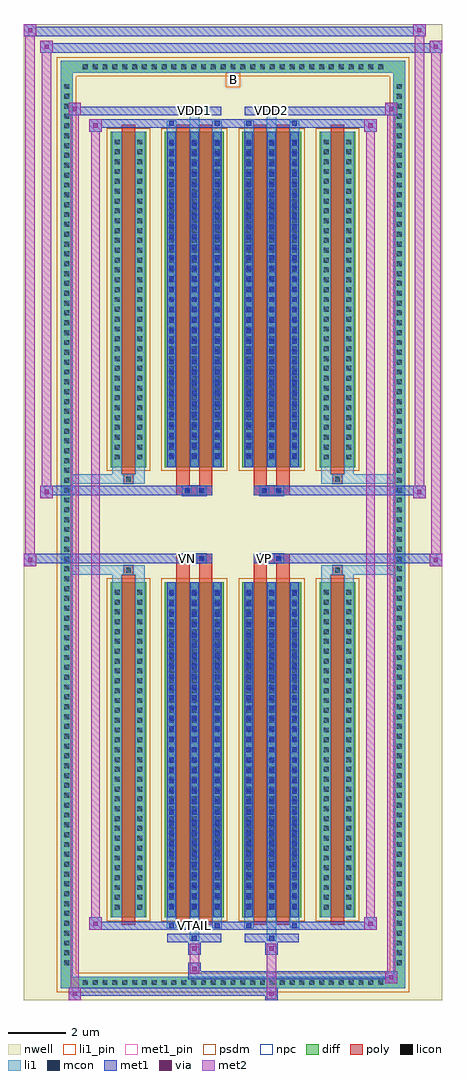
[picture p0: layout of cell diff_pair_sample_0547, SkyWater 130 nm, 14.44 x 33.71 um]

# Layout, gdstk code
import gdstk
lib = gdstk.Library(unit=1e-6, precision=5e-09)
def R(c, l, rs):  # rectangles x0, y0, x1, y1
    for r in rs: c.add(gdstk.rectangle(r[:2], r[2:], *l))
def A(c, l, x, y, w, h, nx, ny, dx, dy):  # array of equal rectangles
    R(c, l, [(x+i*dx, y+j*dy, x+i*dx+w, y+j*dy+h) for i in range(nx) for j in range(ny)])
def P(c, l, *ps):  # polygons
    for p in ps: c.add(gdstk.Polygon(p, *l))
nwell = (64, 20)
diff = (65, 20)
poly = (66, 20)
licon = (66, 44)
li1_pin = (67, 16)
li1 = (67, 20)
mcon = (67, 44)
met1_pin = (68, 16)
met1 = (68, 20)
via = (68, 44)
met2 = (69, 20)
psdm = (94, 20)
npc = (95, 20)

diff_pair_sample_0547 = lib.new_cell('diff_pair_sample_0547')
R(diff_pair_sample_0547, nwell, [(-7.22,-16.42,7.22,17.29), (-4.54,-14.61,-0.01,-0.805), (0.01,-14.61,4.54,-0.805), (-4.54,0.805,-0.01,14.61), (0.01,0.805,4.54,14.61)])
A(diff_pair_sample_0547, diff, -5.305, -16.02, 0.41, 0.41, 31, 2, 0.34, 31.63)
A(diff_pair_sample_0547, diff, -5.95, -15.335, 0.41, 0.41, 1, 90, 0, 0.34)
A(diff_pair_sample_0547, diff, 5.54, -15.335, 0.41, 0.41, 1, 90, 0, 0.34)
R(diff_pair_sample_0547, diff, [(-5.305,-16.02,5.305,-15.61), (-5.95,-15.335,-5.54,15.335), (5.54,-15.335,5.95,15.335), (-4.23,-13.565,-2.99,-1.985), (-2.35,-13.565,-0.32,-1.985), (0.32,-13.565,2.35,-1.985), (2.99,-13.565,4.23,-1.985), (-4.23,1.985,-2.99,13.565), (-2.35,1.985,-0.32,13.565), (0.32,1.985,2.35,13.565), (2.99,1.985,4.23,13.565), (-5.305,15.61,5.305,16.02)])
P(diff_pair_sample_0547, diff, [(5.95,16.02),(-5.95,16.02),(-5.95,-15.61),(-5.54,-15.61),(-5.54,15.61),(5.54,15.61),(5.54,-15.61),(-5.54,-15.61),(-5.95,-15.61),(-5.95,-16.02),(5.95,-16.02)])
R(diff_pair_sample_0547, poly, [(-3.84,-13.815,-3.38,-1.735), (-1.96,-13.815,-1.5,-1.735), (-1.17,-13.815,-0.71,-1.735), (0.71,-13.815,1.17,-1.735), (1.5,-13.815,1.96,-1.735), (3.38,-13.815,3.84,-1.735), (-3.775,-1.735,-3.445,-1.405), (-3.775,-1.735,-3.445,-1.405), (-1.96,-1.735,-1.5,-1.335), (-1.17,-1.735,-0.71,-1.335), (0.71,-1.735,1.17,-1.335), (1.5,-1.735,1.96,-1.335), (3.445,-1.735,3.775,-1.405), (3.445,-1.735,3.775,-1.405), (-1.96,-1.335,-0.71,-1.005), (-1.75,-1.335,-1.42,-1.005), (-1.25,-1.335,-0.92,-1.005), (0.71,-1.335,1.96,-1.005), (0.92,-1.335,1.25,-1.005), (1.42,-1.335,1.75,-1.005), (-1.96,1.005,-0.71,1.335), (-1.75,1.005,-1.42,1.335), (-1.25,1.005,-0.92,1.335), (0.71,1.005,1.96,1.335), (0.92,1.005,1.25,1.335), (1.42,1.005,1.75,1.335), (-1.96,1.335,-1.5,1.735), (-1.17,1.335,-0.71,1.735), (0.71,1.335,1.17,1.735), (1.5,1.335,1.96,1.735), (-3.775,1.405,-3.445,1.735), (-3.775,1.405,-3.445,1.735), (3.445,1.405,3.775,1.735), (3.445,1.405,3.775,1.735), (-3.84,1.735,-3.38,13.815), (-1.96,1.735,-1.5,13.815), (-1.17,1.735,-0.71,13.815), (0.71,1.735,1.17,13.815), (1.5,1.735,1.96,13.815), (3.38,1.735,3.84,13.815)])
A(diff_pair_sample_0547, licon, -5.185, -15.9, 0.17, 0.17, 31, 2, 0.34, 31.63)
A(diff_pair_sample_0547, licon, -5.83, -15.215, 0.17, 0.17, 1, 90, 0, 0.34)
A(diff_pair_sample_0547, licon, 5.66, -15.215, 0.17, 0.17, 1, 90, 0, 0.34)
A(diff_pair_sample_0547, licon, -4.09, -13.3, 0.17, 0.17, 1, 33, 0, 0.34)
A(diff_pair_sample_0547, licon, -3.3, -13.3, 0.17, 0.17, 1, 33, 0, 0.34)
A(diff_pair_sample_0547, licon, -2.21, -13.3, 0.17, 0.17, 3, 33, 0.79, 0.34)
A(diff_pair_sample_0547, licon, 0.46, -13.3, 0.17, 0.17, 3, 33, 0.79, 0.34)
A(diff_pair_sample_0547, licon, 3.13, -13.3, 0.17, 0.17, 1, 33, 0, 0.34)
A(diff_pair_sample_0547, licon, 3.92, -13.3, 0.17, 0.17, 1, 33, 0, 0.34)
A(diff_pair_sample_0547, licon, -4.09, 2.25, 0.17, 0.17, 1, 33, 0, 0.34)
A(diff_pair_sample_0547, licon, -3.3, 2.25, 0.17, 0.17, 1, 33, 0, 0.34)
A(diff_pair_sample_0547, licon, -2.21, 2.25, 0.17, 0.17, 3, 33, 0.79, 0.34)
A(diff_pair_sample_0547, licon, 0.46, 2.25, 0.17, 0.17, 3, 33, 0.79, 0.34)
A(diff_pair_sample_0547, licon, 3.13, 2.25, 0.17, 0.17, 1, 33, 0, 0.34)
A(diff_pair_sample_0547, licon, 3.92, 2.25, 0.17, 0.17, 1, 33, 0, 0.34)
R(diff_pair_sample_0547, licon, [(-3.695,-1.655,-3.525,-1.485), (3.525,-1.655,3.695,-1.485), (-1.67,-1.255,-1.5,-1.085), (-1.17,-1.255,-1,-1.085), (1,-1.255,1.17,-1.085), (1.5,-1.255,1.67,-1.085), (-1.67,1.085,-1.5,1.255), (-1.17,1.085,-1,1.255), (1,1.085,1.17,1.255), (1.5,1.085,1.67,1.255), (-3.695,1.485,-3.525,1.655), (3.525,1.485,3.695,1.655)])
R(diff_pair_sample_0547, li1_pin, [(-0.25,15.11,0.25,15.61)])
A(diff_pair_sample_0547, li1, -5.265, -15.98, 0.33, 0.33, 31, 2, 0.34, 31.63)
A(diff_pair_sample_0547, li1, -5.91, -15.295, 0.33, 0.33, 1, 90, 0, 0.34)
A(diff_pair_sample_0547, li1, 5.58, -15.295, 0.33, 0.33, 1, 90, 0, 0.34)
A(diff_pair_sample_0547, li1, -2.29, -13.565, 0.33, 11.58, 3, 2, 0.79, 15.55)
A(diff_pair_sample_0547, li1, 0.38, -13.565, 0.33, 11.58, 3, 2, 0.79, 15.55)
A(diff_pair_sample_0547, li1, -4.17, -13.38, 0.33, 0.33, 1, 33, 0, 0.34)
A(diff_pair_sample_0547, li1, -3.38, -13.38, 0.33, 0.33, 1, 33, 0, 0.34)
A(diff_pair_sample_0547, li1, -2.29, -13.38, 0.33, 0.33, 3, 33, 0.79, 0.34)
A(diff_pair_sample_0547, li1, 0.38, -13.38, 0.33, 0.33, 3, 33, 0.79, 0.34)
A(diff_pair_sample_0547, li1, 3.05, -13.38, 0.33, 0.33, 1, 33, 0, 0.34)
A(diff_pair_sample_0547, li1, 3.84, -13.38, 0.33, 0.33, 1, 33, 0, 0.34)
A(diff_pair_sample_0547, li1, -2.21, -13.26, 0.17, 0.17, 3, 31, 0.79, 0.36)
A(diff_pair_sample_0547, li1, -2.21, -13.26, 0.17, 10.97, 3, 2, 0.79, 15.55)
A(diff_pair_sample_0547, li1, 0.46, -13.26, 0.17, 0.17, 3, 31, 0.79, 0.36)
A(diff_pair_sample_0547, li1, 0.46, -13.26, 0.17, 10.97, 3, 2, 0.79, 15.55)
A(diff_pair_sample_0547, li1, -4.17, 2.17, 0.33, 0.33, 1, 33, 0, 0.34)
A(diff_pair_sample_0547, li1, -3.38, 2.17, 0.33, 0.33, 1, 33, 0, 0.34)
A(diff_pair_sample_0547, li1, -2.29, 2.17, 0.33, 0.33, 3, 33, 0.79, 0.34)
A(diff_pair_sample_0547, li1, 0.38, 2.17, 0.33, 0.33, 3, 33, 0.79, 0.34)
A(diff_pair_sample_0547, li1, 3.05, 2.17, 0.33, 0.33, 1, 33, 0, 0.34)
A(diff_pair_sample_0547, li1, 3.84, 2.17, 0.33, 0.33, 1, 33, 0, 0.34)
A(diff_pair_sample_0547, li1, -2.21, 2.29, 0.17, 0.17, 3, 31, 0.79, 0.36)
A(diff_pair_sample_0547, li1, 0.46, 2.29, 0.17, 0.17, 3, 31, 0.79, 0.36)
R(diff_pair_sample_0547, li1, [(-5.95,-16.02,-5.54,-15.61), (-5.95,-16.02,-5.54,-15.61), (-5.54,-16.02,5.54,-15.61), (5.54,-16.02,5.95,-15.61), (5.54,-16.02,5.95,-15.61), (-5.95,-15.61,-5.54,15.61), (5.54,-15.61,5.95,15.61), (-1.5,-14.37,-1.17,-13.565), (-1.42,-14.37,-1.25,-14.2), (1.17,-14.37,1.5,-13.565), (1.25,-14.37,1.42,-14.2), (-2.29,-13.94,-1.96,-13.565), (-2.21,-13.94,-2.04,-13.77), (-0.71,-13.94,-0.38,-13.565), (-0.63,-13.94,-0.46,-13.77), (0.38,-13.94,0.71,-13.565), (0.46,-13.94,0.63,-13.77), (1.96,-13.94,2.29,-13.565), (2.04,-13.94,2.21,-13.77), (-4.17,-13.565,-3.84,-1.985), (-3.38,-13.565,-3.05,-1.985), (3.05,-13.565,3.38,-1.985), (3.84,-13.565,4.17,-1.985), (-4.17,-1.985,-3.84,-1.405), (-3.38,-1.985,-3.05,-1.405), (3.05,-1.985,3.38,-1.405), (3.84,-1.985,4.17,-1.405), (-5.95,-1.735,-3.775,-1.405), (-4.17,-1.735,-3.775,-1.405), (-3.775,-1.735,-3.445,-1.405), (-3.445,-1.735,-3.05,-1.405), (3.05,-1.735,3.445,-1.405), (3.445,-1.735,3.775,-1.405), (3.445,-1.735,5.95,-1.405), (3.775,-1.735,4.17,-1.405), (-1.75,-1.335,-1.42,-1.005), (-1.25,-1.335,-0.92,-1.005), (0.92,-1.335,1.25,-1.005), (1.42,-1.335,1.75,-1.005), (-1.75,1.005,-1.42,1.335), (-1.25,1.005,-0.92,1.335), (0.92,1.005,1.25,1.335), (1.42,1.005,1.75,1.335), (-5.95,1.405,-3.775,1.735), (-4.17,1.405,-3.775,1.735), (-4.17,1.405,-3.84,1.985), (-3.775,1.405,-3.445,1.735), (-3.445,1.405,-3.05,1.735), (-3.38,1.405,-3.05,1.985), (3.05,1.405,3.445,1.735), (3.05,1.405,3.38,1.985), (3.445,1.405,3.775,1.735), (3.445,1.405,5.95,1.735), (3.775,1.405,4.17,1.735), (3.84,1.405,4.17,1.985), (-4.17,1.985,-3.84,13.565), (-3.38,1.985,-3.05,13.565), (3.05,1.985,3.38,13.565), (3.84,1.985,4.17,13.565), (-2.29,13.565,-1.96,13.94), (-1.5,13.565,-1.17,14.37), (-0.71,13.565,-0.38,13.94), (0.38,13.565,0.71,13.94), (1.17,13.565,1.5,14.37), (1.96,13.565,2.29,13.94), (-2.21,13.77,-2.04,13.94), (-0.63,13.77,-0.46,13.94), (0.46,13.77,0.63,13.94), (2.04,13.77,2.21,13.94), (-1.42,14.2,-1.25,14.37), (1.25,14.2,1.42,14.37), (-5.95,15.61,-5.54,16.02), (-5.95,15.61,-5.54,16.02), (-5.54,15.61,5.54,16.02), (5.54,15.61,5.95,16.02), (5.54,15.61,5.95,16.02)])
A(diff_pair_sample_0547, mcon, -2.21, -13.26, 0.17, 0.17, 3, 31, 0.79, 0.36)
A(diff_pair_sample_0547, mcon, 0.46, -13.26, 0.17, 0.17, 3, 31, 0.79, 0.36)
A(diff_pair_sample_0547, mcon, -2.21, 2.29, 0.17, 0.17, 3, 31, 0.79, 0.36)
A(diff_pair_sample_0547, mcon, 0.46, 2.29, 0.17, 0.17, 3, 31, 0.79, 0.36)
R(diff_pair_sample_0547, mcon, [(-1.42,-14.37,-1.25,-14.2), (1.25,-14.37,1.42,-14.2), (-2.21,-13.94,-2.04,-13.77), (-0.63,-13.94,-0.46,-13.77), (0.46,-13.94,0.63,-13.77), (2.04,-13.94,2.21,-13.77), (-1.67,-1.255,-1.5,-1.085), (-1.17,-1.255,-1,-1.085), (1,-1.255,1.17,-1.085), (1.5,-1.255,1.67,-1.085), (-1.67,1.085,-1.5,1.255), (-1.17,1.085,-1,1.255), (1,1.085,1.17,1.255), (1.5,1.085,1.67,1.255), (-2.21,13.77,-2.04,13.94), (-0.63,13.77,-0.46,13.94), (0.46,13.77,0.63,13.94), (2.04,13.77,2.21,13.94), (-1.42,14.2,-1.25,14.37), (1.25,14.2,1.42,14.37)])
R(diff_pair_sample_0547, met1_pin, [(-1.47,-13.98,-1.2,-13.71), (-1.72,-1.295,-1.45,-1.025), (0.95,-1.295,1.22,-1.025), (-1.47,14.16,-1.2,14.43), (1.2,14.16,1.47,14.43)])
A(diff_pair_sample_0547, met1, -2.27, -13.565, 0.29, 11.58, 3, 2, 0.79, 15.55)
A(diff_pair_sample_0547, met1, 0.4, -13.565, 0.29, 11.58, 3, 2, 0.79, 15.55)
A(diff_pair_sample_0547, met1, -2.27, -13.32, 0.29, 0.29, 3, 31, 0.79, 0.36)
A(diff_pair_sample_0547, met1, 0.4, -13.32, 0.29, 0.29, 3, 31, 0.79, 0.36)
A(diff_pair_sample_0547, met1, -2.27, 2.23, 0.29, 0.29, 3, 31, 0.79, 0.36)
A(diff_pair_sample_0547, met1, 0.4, 2.23, 0.29, 0.29, 3, 31, 0.79, 0.36)
R(diff_pair_sample_0547, met1, [(-5.68,-16.42,-5.25,-15.99), (1.12,-16.42,1.55,-15.99), (-5.68,-16.28,1.55,-15.99), (5.25,-15.85,5.68,-15.42), (-1.55,-15.71,5.68,-15.42), (-1.55,-15.57,-1.12,-15.14), (-1.55,-14.86,-1.12,-14.43), (1.12,-14.86,1.55,-14.43), (-2.27,-14.43,-0.4,-14.14), (-1.48,-14.43,-1.19,-14.14), (0.4,-14.43,2.27,-14.14), (1.19,-14.43,1.48,-14.14), (-4.97,-14,-4.54,-13.57), (-4.97,-14,-2.27,-13.71), (-2.27,-14,-1.98,-13.71), (-2.27,-14,-0.4,-13.71), (-0.69,-14,-0.4,-13.71), (-0.4,-14,0.4,-13.71), (0.4,-14,0.69,-13.71), (0.4,-14,2.27,-13.71), (1.98,-14,2.27,-13.71), (2.27,-14,4.97,-13.71), (4.54,-14,4.97,-13.57), (-7.22,-1.435,-6.79,-1.005), (6.79,-1.435,7.22,-1.005), (-7.22,-1.335,-0.71,-1.005), (-1.96,-1.335,-0.71,-1.005), (0.71,-1.335,1.96,-1.005), (0.71,-1.335,7.22,-1.005), (-1.73,-1.315,-1.44,-1.025), (-1.23,-1.315,-0.94,-1.025), (0.94,-1.315,1.23,-1.025), (1.44,-1.315,1.73,-1.025), (-6.65,0.905,-6.22,1.335), (6.22,0.905,6.65,1.335), (-6.65,1.005,-1.96,1.335), (-1.96,1.005,-0.71,1.335), (0.71,1.005,1.96,1.335), (1.96,1.005,6.65,1.335), (-1.73,1.025,-1.44,1.315), (-1.23,1.025,-0.94,1.315), (0.94,1.025,1.23,1.315), (1.44,1.025,1.73,1.315), (-4.97,13.57,-4.54,14), (4.54,13.57,4.97,14), (-4.97,13.71,-2.27,14), (-2.27,13.71,-1.98,14), (-2.27,13.71,-0.4,14), (-0.69,13.71,-0.4,14), (-0.4,13.71,0.4,14), (0.4,13.71,0.69,14), (0.4,13.71,2.27,14), (1.98,13.71,2.27,14), (2.27,13.71,4.97,14), (-5.68,14.14,-5.25,14.57), (-5.68,14.14,-2.27,14.43), (-2.27,14.14,-0.4,14.43), (-1.48,14.14,-1.19,14.43), (0.4,14.14,2.27,14.43), (1.19,14.14,1.48,14.43), (2.27,14.14,5.68,14.43), (5.25,14.14,5.68,14.57), (-6.65,16.29,-6.22,16.72), (-6.65,16.29,-4.54,16.62), (-4.54,16.29,4.54,16.62), (4.54,16.29,7.22,16.62), (6.79,16.29,7.22,16.72), (-7.22,16.86,-6.79,17.29), (-7.22,16.86,-4.54,17.19), (-4.54,16.86,4.54,17.19), (4.54,16.86,6.65,17.19), (6.22,16.86,6.65,17.29)])
R(diff_pair_sample_0547, via, [(-5.54,-16.28,-5.39,-16.13), (1.26,-16.28,1.41,-16.13), (5.39,-15.71,5.54,-15.56), (-1.41,-15.43,-1.26,-15.28), (-1.41,-14.72,-1.26,-14.57), (1.26,-14.72,1.41,-14.57), (-4.83,-13.86,-4.68,-13.71), (4.68,-13.86,4.83,-13.71), (-7.08,-1.295,-6.93,-1.145), (6.93,-1.295,7.08,-1.145), (-6.51,1.045,-6.36,1.195), (6.36,1.045,6.51,1.195), (-4.83,13.71,-4.68,13.86), (4.68,13.71,4.83,13.86), (-5.54,14.28,-5.39,14.43), (5.39,14.28,5.54,14.43), (-6.51,16.43,-6.36,16.58), (6.93,16.43,7.08,16.58), (-7.08,17,-6.93,17.15), (6.36,17,6.51,17.15)])
R(diff_pair_sample_0547, met2, [(-5.68,-16.42,-5.25,-15.99), (-5.61,-16.42,-5.32,14.57), (-5.32,-16.42,-5.25,-15.99), (-5.63,-16.37,-5.3,-16.04), (1.17,-16.37,1.5,-16.04), (1.17,-16.04,1.5,-14.81), (5.25,-15.85,5.68,-15.42), (5.32,-15.85,5.61,14.57), (5.61,-15.85,5.68,-15.42), (5.3,-15.8,5.63,-15.47), (-1.5,-15.52,-1.17,-15.19), (-1.5,-15.19,-1.17,-14.81), (-1.5,-14.81,-1.17,-14.48), (1.17,-14.81,1.5,-14.48), (-4.97,-14,-4.54,-13.57), (-4.9,-14,-4.61,14), (-4.61,-14,-4.54,-13.57), (4.54,-14,4.97,-13.57), (4.61,-14,4.9,14), (4.9,-14,4.97,-13.57), (-4.92,-13.95,-4.59,-13.62), (4.59,-13.95,4.92,-13.62), (-7.22,-1.435,-6.79,-1.005), (-7.17,-1.435,-6.84,17.29), (-6.84,-1.435,-6.79,-1.005), (6.79,-1.435,7.22,-1.005), (6.84,-1.435,7.17,16.72), (7.17,-1.435,7.22,-1.005), (-7.17,-1.385,-6.84,-1.055), (6.84,-1.385,7.17,-1.055), (-6.65,0.905,-6.22,1.335), (-6.6,0.905,-6.27,16.72), (-6.27,0.905,-6.22,1.335), (6.22,0.905,6.65,1.335), (6.27,0.905,6.6,17.29), (6.6,0.905,6.65,1.335), (-6.6,0.955,-6.27,1.285), (6.27,0.955,6.6,1.285), (-4.97,13.57,-4.54,14), (-4.61,13.57,-4.54,14), (4.54,13.57,4.97,14), (4.9,13.57,4.97,14), (-4.92,13.62,-4.59,13.95), (4.59,13.62,4.92,13.95), (-5.68,14.14,-5.25,14.57), (-5.32,14.14,-5.25,14.57), (5.25,14.14,5.68,14.57), (5.61,14.14,5.68,14.57), (-5.63,14.19,-5.3,14.52), (5.3,14.19,5.63,14.52), (-6.65,16.29,-6.22,16.72), (-6.27,16.29,-6.22,16.72), (6.79,16.29,7.22,16.72), (7.17,16.29,7.22,16.72), (-6.6,16.34,-6.27,16.67), (6.84,16.34,7.17,16.67), (-7.22,16.86,-6.79,17.29), (-6.84,16.86,-6.79,17.29), (6.22,16.86,6.65,17.29), (6.6,16.86,6.65,17.29), (-7.17,16.91,-6.84,17.24), (6.27,16.91,6.6,17.24)])
R(diff_pair_sample_0547, psdm, [(-4.36,-13.695,-2.86,-1.855), (-2.48,-13.695,-0.19,-1.855), (0.19,-13.695,2.48,-1.855), (2.86,-13.695,4.36,-1.855), (-4.36,1.855,-2.86,13.695), (-2.48,1.855,-0.19,13.695), (0.19,1.855,2.48,13.695), (2.86,1.855,4.36,13.695)])
P(diff_pair_sample_0547, psdm, [(6.08,16.15),(-6.08,16.15),(-6.08,-15.48),(-5.41,-15.48),(-5.41,15.48),(5.41,15.48),(5.41,-15.48),(-5.41,-15.48),(-6.08,-15.48),(-6.08,-16.15),(6.08,-16.15)])
R(diff_pair_sample_0547, npc, [(-3.795,-1.755,-3.425,-1.385), (3.425,-1.755,3.795,-1.385), (-1.77,-1.355,-1.4,-0.985), (-1.77,-1.355,-0.9,-0.985), (-1.77,-1.355,-0.9,-0.985), (-1.27,-1.355,-0.9,-0.985), (0.9,-1.355,1.27,-0.985), (0.9,-1.355,1.77,-0.985), (0.9,-1.355,1.77,-0.985), (1.4,-1.355,1.77,-0.985), (-1.77,0.985,-1.4,1.355), (-1.77,0.985,-0.9,1.355), (-1.77,0.985,-0.9,1.355), (-1.27,0.985,-0.9,1.355), (0.9,0.985,1.27,1.355), (0.9,0.985,1.77,1.355), (0.9,0.985,1.77,1.355), (1.4,0.985,1.77,1.355), (-3.795,1.385,-3.425,1.755), (3.425,1.385,3.795,1.755)])
diff_pair_sample_0547.add(gdstk.Label('VTAIL', (-1.335,-13.845), layer=68, texttype=5))
diff_pair_sample_0547.add(gdstk.Label('VN', (-1.585,-1.16), layer=68, texttype=5))
diff_pair_sample_0547.add(gdstk.Label('VP', (1.085,-1.16), layer=68, texttype=5))
diff_pair_sample_0547.add(gdstk.Label('B', (0,15.36), layer=67, texttype=5))
diff_pair_sample_0547.add(gdstk.Label('VDD2', (1.335,14.295), layer=68, texttype=5))
diff_pair_sample_0547.add(gdstk.Label('VDD1', (-1.335,14.295), layer=68, texttype=5))

lib.write_gds('diff_pair_sample_0547.gds')
